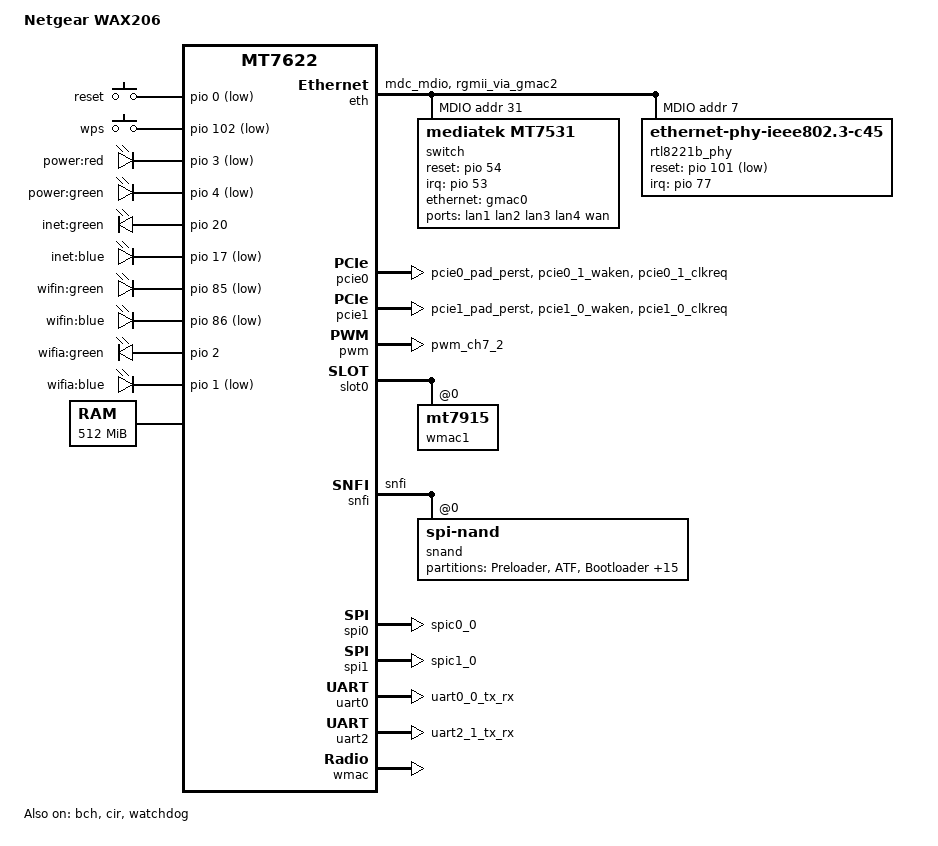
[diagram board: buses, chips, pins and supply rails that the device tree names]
// SPDX-License-Identifier: GPL-2.0-or-later OR MIT
/* Copyright (c) 2022, Marcel Ziswiler <marcel@ziswiler.com> */
/* kimi修改后的dts，适应新版nvme方案 */

/dts-v1/;
#include "mt7622.dtsi"
#include "mt6380.dtsi"
#include <dt-bindings/gpio/gpio.h>
#include <dt-bindings/input/input.h>

/ {
	model = "Netgear WAX206";
	compatible = "netgear,wax206", "mediatek,mt7622";

	aliases {
		ethernet0 = &gmac0;
		label-mac-device = &gmac0;
		led-boot = &led_power_r;
		led-failsafe = &led_power_r;
		led-running = &led_power_g;
		led-upgrade = &led_power_g;
		serial0 = &uart0;
	};

	chosen {
		stdout-path = "serial0:115200n8";
		bootargs = "earlycon=uart8250,mmio32,0x11002000 console=ttyS0,115200n8 swiotlb=512";
	};

	cpus {
		cpu@0 {
			proc-supply = <&mt6380_vcpu_reg>;
			sram-supply = <&mt6380_vm_reg>;
		};

		cpu@1 {
			proc-supply = <&mt6380_vcpu_reg>;
			sram-supply = <&mt6380_vm_reg>;
		};
	};

	gpio-keys {
		compatible = "gpio-keys";

		reset {
			gpios = <&pio 0 GPIO_ACTIVE_LOW>;
			label = "reset";
			linux,code = <KEY_RESTART>;
		};

		wps {
			gpios = <&pio 102 GPIO_ACTIVE_LOW>;
			label = "wps";
			linux,code = <KEY_WPS_BUTTON>;
		};
	};

	gpio-leds {
		compatible = "gpio-leds";

		led_power_r: power_red {
			default-state = "on";
			gpios = <&pio 3 GPIO_ACTIVE_LOW>;
			label = "power:red";
		};

		led_power_g: power_green {
			default-state = "off";
			gpios = <&pio 4 GPIO_ACTIVE_LOW>;
			label = "power:green";
		};

		inet_green {
			default-state = "off";
			gpios = <&pio 20 GPIO_ACTIVE_HIGH>;
			label = "inet:green";
		};

		inet_blue {
			default-state = "off";
			gpios = <&pio 17 GPIO_ACTIVE_LOW>;
			label = "inet:blue";
		};

		wifin_green {
			default-state = "off";
			gpios = <&pio 85 GPIO_ACTIVE_LOW>;
			label = "wifin:green";
			linux,default-trigger = "phy0tpt";
		};

		wifin_blue {
			default-state = "off";
			gpios = <&pio 86 GPIO_ACTIVE_LOW>;
			label = "wifin:blue";
		};

		wifia_green {
			default-state = "off";
			gpios = <&pio 2 GPIO_ACTIVE_HIGH>;
			label = "wifia:green";
			linux,default-trigger = "phy1tpt";
		};

		wifia_blue {
			default-state = "off";
			gpios = <&pio 1 GPIO_ACTIVE_LOW>;
			label = "wifia:blue";
		};
	};

	memory@40000000 {
		reg = <0 0x40000000 0 0x20000000>;  // RAM 512MB
		device_type = "memory";
	};
};

&bch {
	status = "okay";
};

&cir {
	pinctrl-names = "default";
	pinctrl-0 = <&irrx_pins>;
	status = "okay";
};

&eth {
	pinctrl-names = "default";
	pinctrl-0 = <&eth_pins>;
	status = "okay";

	gmac0: mac@0 {
		compatible = "mediatek,eth-mac";
		// 修改：使用新的NVMEM格式，添加偏移参数
		nvmem-cells = <&macaddr_factory_7fff4 0>;
		nvmem-cell-names = "mac-address";
		phy-mode = "2500base-x";
		reg = <0>;

		fixed-link {
			full-duplex;
			pause;
			speed = <2500>;
		};
	};

	mdio-bus {
		#address-cells = <1>;
		#size-cells = <0>;

		switch@1f {
			compatible = "mediatek,mt7531";
			reg = <31>;
			#interrupt-cells = <1>;
			interrupt-controller;
			interrupt-parent = <&pio>;
			interrupts = <53 IRQ_TYPE_LEVEL_HIGH>;
			reset-gpios = <&pio 54 GPIO_ACTIVE_HIGH>;

			ports {
				#address-cells = <1>;
				#size-cells = <0>;

				port@1 {
					label = "lan1";
					reg = <1>;
				};

				port@2 {
					label = "lan2";
					reg = <2>;
				};

				port@3 {
					label = "lan3";
					reg = <3>;
				};

				port@4 {
					label = "lan4";
					reg = <4>;
				};

				wan: port@5 {
					label = "wan";
					// 修改：使用新的NVMEM格式，添加偏移参数
					nvmem-cells = <&macaddr_factory_7fffa 0>;
					nvmem-cell-names = "mac-address";
					phy-handle = <&rtl8221b_phy>;
					phy-mode = "2500base-x";
					reg = <5>;
				};

				port@6 {
					ethernet = <&gmac0>;
					phy-mode = "2500base-x";
					reg = <6>;

					fixed-link {
						full-duplex;
						pause;
						speed = <2500>;
					};
				};
			};
		};

		rtl8221b_phy: ethernet-phy@7 {
			compatible = "ethernet-phy-ieee802.3-c45";
			reg = <7>;
			reset-gpios = <&pio 101 GPIO_ACTIVE_LOW>;
			interrupt-parent = <&pio>;
			interrupts = <77 IRQ_TYPE_LEVEL_LOW>;
			reset-assert-us = <100000>;
			reset-deassert-us = <100000>;
		};
	};
};

&pcie0 {
	pinctrl-names = "default";
	pinctrl-0 = <&pcie0_pins>;
	status = "okay";
};

&pcie1 {
	pinctrl-names = "default";
	pinctrl-0 = <&pcie1_pins>;
	status = "okay";
};

&pio {
	eth_pins: eth-pins {
		mux {
			function = "eth";
			groups = "mdc_mdio", "rgmii_via_gmac2";
		};
	};

	irrx_pins: irrx-pins {
		mux {
			function = "ir";
			groups =  "ir_1_rx";
		};
	};

	irtx_pins: irtx-pins {
		mux {
			function = "ir";
			groups =  "ir_1_tx";
		};
	};

	pcie0_pins: pcie0-pins {
		mux {
			function = "pcie";
			groups = "pcie0_pad_perst",
				 "pcie0_1_waken",
				 "pcie0_1_clkreq";
		};
	};

	pcie1_pins: pcie1-pins {
		mux {
			function = "pcie";
			groups = "pcie1_pad_perst",
				 "pcie1_0_waken",
				 "pcie1_0_clkreq";
		};
	};

	pmic_bus_pins: pmic-bus-pins {
		mux {
			function = "pmic";
			groups = "pmic_bus";
		};
	};

	pwm7_pins: pwm1-2-pins {
		mux {
			function = "pwm";
			groups = "pwm_ch7_2";
		};
	};

	wled_pins: wled-pins {
		mux {
			function = "led";
			groups = "wled";
		};
	};

	/* Serial NAND is shared pin with SPI-NOR */
	serial_nand_pins: serial-nand-pins {
		mux {
			function = "flash";
			groups = "snfi";
		};
	};

	spic0_pins: spic0-pins {
		mux {
			function = "spi";
			groups = "spic0_0";
		};
	};

	spic1_pins: spic1-pins {
		mux {
			function = "spi";
			groups = "spic1_0";
		};
	};

	uart0_pins: uart0-pins {
		mux {
			function = "uart";
			groups = "uart0_0_tx_rx";
		};
	};

	uart2_pins: uart2-pins {
		mux {
			function = "uart";
			groups = "uart2_1_tx_rx";
		};
	};

	watchdog_pins: watchdog-pins {
		mux {
			function = "watchdog";
			groups = "watchdog";
		};
	};
};

&pwm {
	pinctrl-names = "default";
	pinctrl-0 = <&pwm7_pins>;
	status = "okay";
};

&pwrap {
	pinctrl-names = "default";
	pinctrl-0 = <&pmic_bus_pins>;
	status = "okay";
};

&rtc {
	status = "disabled";
};

&sata {
	status = "disabled";
};

&sata_phy {
	status = "disabled";
};

&slot0 {
	wmac1: mt7915@0,0 {
		reg = <0x0000 0 0 0 0>;
		ieee80211-freq-limit = <5000000 6000000>;
	};
};

&snfi {
	pinctrl-names = "default";
	pinctrl-0 = <&serial_nand_pins>;
	status = "okay";

	snand: flash@0 {
		compatible = "spi-nand";
		mediatek,bmt-table-size = <0x1000>;
		mediatek,bmt-v2;
		nand-ecc-engine = <&snfi>;
		reg = <0>;
		spi-rx-bus-width = <4>;
		spi-tx-bus-width = <4>;

		partitions {
			compatible = "fixed-partitions";
			#address-cells = <1>;
			#size-cells = <1>;

			partition@0 {
				label = "Preloader";
				reg = <0x00000 0x0080000>;
				read-only;
			};

			partition@80000 {
				label = "ATF";
				reg = <0x80000 0x0040000>;
				read-only;
			};

			partition@c0000 {
				label = "Bootloader";
				reg = <0xc0000 0x0080000>;
				read-only;
			};

			partition@140000 {
				label = "Config";
				reg = <0x140000 0x0080000>;
			};

			// 修改：使用新的NVMEM格式
			factory: partition@1c0000 {
				label = "Factory";
				reg = <0x1c0000 0x0100000>;
				read-only;

				nvmem-layout {
					compatible = "fixed-layout";
					#address-cells = <1>;
					#size-cells = <1>;

					// 修改：使用mac-address替代macaddr，添加compatible
					macaddr_factory_7fff4: mac-address@7fff4 {
						compatible = "mac-base";
						reg = <0x7fff4 0x6>;
						#nvmem-cell-cells = <1>;
					};

					macaddr_factory_7fffa: mac-address@7fffa {
						compatible = "mac-base";
						reg = <0x7fffa 0x6>;
						#nvmem-cell-cells = <1>;
					};
				};
			};

			partition@2c0000 {
				label = "firmware";
				reg = <0x2c0000 0xd100000>;  // 0xd100000 = 209MB

				compatible = "fixed-partitions";
				#address-cells = <1>;
				#size-cells = <1>;

				partition@0 {
					label = "kernel";
					reg = <0x0 0xe00000>;  // 0xe00000 = 14MB
				};

				partition@e00000 {
					label = "ubi";
					reg = <0xe00000 0xc300000>;  // 0xc300000 ≈ 195MB
				};
			};


			partition@d3c0000 {
				label = "CFG";
				reg = <0xd3c0000 0x800000>;
				read-only;
			};

			partition@dbc0000 {
				label = "RAE";
				reg = <0xdbc0000 0x400000>;
				read-only;
			};

			partition@dfc0000 {
				label = "POT";
				reg = <0xdfc0000 0x100000>;
				read-only;
			};

			partition@e0c0000 {
				label = "Language";
				reg = <0xe0c0000 0x400000>;
				read-only;
			};

			partition@e4c0000 {
				label = "Traffic";
				reg = <0xe4c0000 0x200000>;
				read-only;
			};

			partition@e6c0000 {
				label = "Cert";
				reg = <0xe6c0000 0x100000>;
				read-only;
			};

			partition@e7c0000 {
				label = "NTGRcryptK";
				reg = <0xe7c0000 0x100000>;
				read-only;
			};

			partition@e8c0000 {
				label = "NTGRcryptD";
				reg = <0xe8c0000 0x500000>;
				read-only;
			};

			partition@edc0000 {
				label = "LOG";
				reg = <0xedc0000 0x100000>;
				read-only;
			};

			partition@eec0000 {
				label = "User_data";
				reg = <0xeec0000 0x640000>;
				read-only;
			};

		};
	};
};

&spi0 {
	pinctrl-names = "default";
	pinctrl-0 = <&spic0_pins>;
	status = "okay";
};

&spi1 {
	pinctrl-names = "default";
	pinctrl-0 = <&spic1_pins>;
	status = "okay";
};

&ssusb {
	status = "disabled";
};

&u3phy {
	status = "disabled";
};

&uart0 {
	pinctrl-names = "default";
	pinctrl-0 = <&uart0_pins>;
	status = "okay";
};

&uart2 {
	pinctrl-names = "default";
	pinctrl-0 = <&uart2_pins>;
	status = "okay";
};

&watchdog {
	pinctrl-names = "default";
	pinctrl-0 = <&watchdog_pins>;
	status = "okay";
};

&wmac {
	mediatek,mtd-eeprom = <&factory 0x0000>;
	status = "okay";
};

&wmac1 {
	mediatek,mtd-eeprom = <&factory 0x05000>;
};
